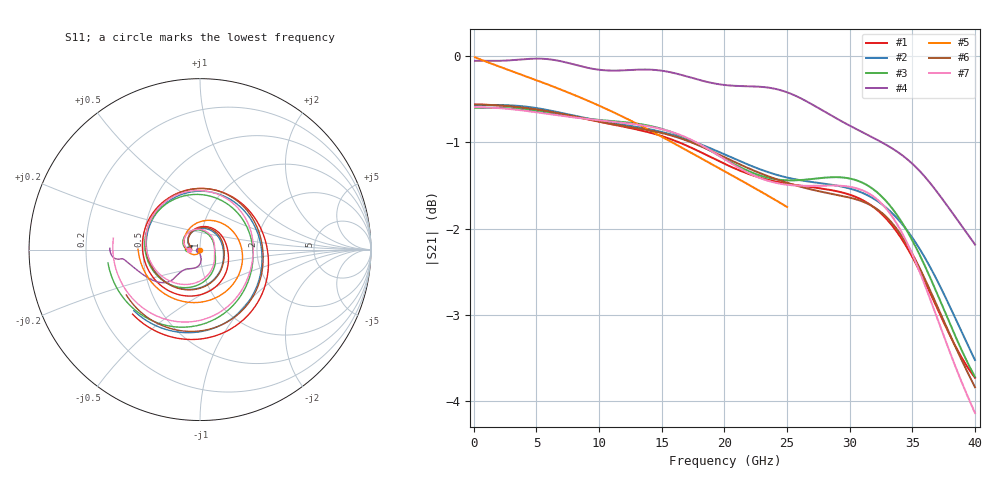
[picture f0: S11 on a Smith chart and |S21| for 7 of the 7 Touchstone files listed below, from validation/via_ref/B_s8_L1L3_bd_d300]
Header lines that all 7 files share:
# Hz S RI R 50
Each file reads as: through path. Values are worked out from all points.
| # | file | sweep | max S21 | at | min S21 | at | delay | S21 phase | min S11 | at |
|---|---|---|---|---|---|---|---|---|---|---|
| 1 | cst_fine.s2p | 100 MHz to 40 GHz | -0.57 dB | 200 MHz | -3.7 dB | 40 GHz | 54.6 ps | -34 deg at 20.1 GHz | -24.6 dB | 2.6 GHz |
| 2 | kisi.s2p | 100 MHz to 40 GHz | -0.57 dB | 1.5 GHz | -3.5 dB | 40 GHz | 54.7 ps | -33 deg at 20.1 GHz | -26.2 dB | 3.2 GHz |
| 3 | kisi_base.s2p | 100 MHz to 40 GHz | -0.60 dB | 1.1 GHz | -3.7 dB | 40 GHz | 55.9 ps | -42 deg at 20.1 GHz | -23.5 dB | 2.2 GHz |
| 4 | kisi_deembedded.s2p | 100 MHz to 40 GHz | -0.03 dB | 5.1 GHz | -2.2 dB | 40 GHz | 3.92 ps | -27 deg at 20.1 GHz | -37.3 dB | 1 GHz |
| 5 | kisi_model.s2p | 100 MHz to 25 GHz | -0.02 dB | 100 MHz | -1.7 dB | 25 GHz | 52.3 ps | 121 deg at 12.6 GHz | -53.2 dB | 100 MHz |
| 6 | openems.s2p | 100 MHz to 40 GHz | -0.56 dB | 100 MHz | -3.8 dB | 40 GHz | 55.1 ps | -36 deg at 20.1 GHz | -25.1 dB | 2.9 GHz |
| 7 | openems_base.s2p | 100 MHz to 40 GHz | -0.59 dB | 100 MHz | -4.1 dB | 40 GHz | 56.4 ps | -45 deg at 20.1 GHz | -23.6 dB | 100 MHz |
